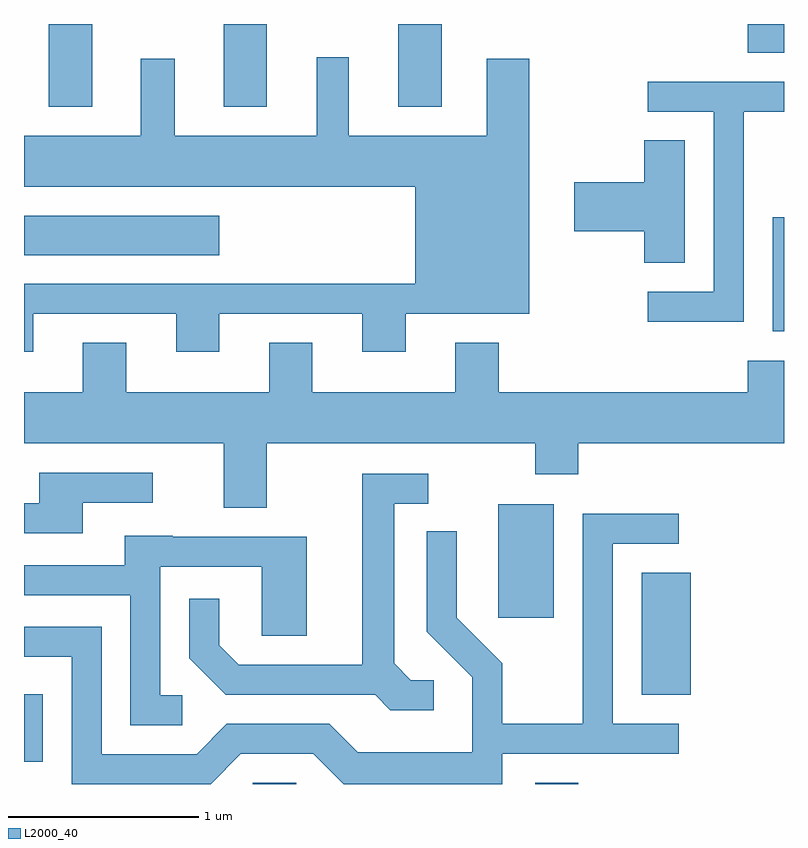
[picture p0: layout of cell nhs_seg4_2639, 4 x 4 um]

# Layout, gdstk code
import gdstk
lib = gdstk.Library(unit=1e-6, precision=1e-09)
def R(c, l, rs):  # rectangles x0, y0, x1, y1
    for r in rs: c.add(gdstk.rectangle(r[:2], r[2:], *l))
def A(c, l, x, y, w, h, nx, ny, dx, dy):  # array of equal rectangles
    R(c, l, [(x+i*dx, y+j*dy, x+i*dx+w, y+j*dy+h) for i in range(nx) for j in range(ny)])
def P(c, l, *ps):  # polygons
    for p in ps: c.add(gdstk.Polygon(p, *l))
L2000_40 = (2000, 40)

nhs_seg4_2639 = lib.new_cell('nhs_seg4_2639')
A(nhs_seg4_2639, L2000_40, 261.741, 1367.546, 0.228, 0.436, 3, 1, 0.92, 0)
R(nhs_seg4_2639, L2000_40, [(262.816,1363.982,263.044,1363.989), (264.301,1363.982,264.529,1363.989), (261.611,1364.098,261.709,1364.454), (264.861,1364.451,265.119,1365.094), (264.106,1364.856,264.399,1365.454), (265.551,1366.366,265.611,1366.964), (261.611,1366.766,262.639,1366.974), (265.421,1367.831,265.611,1367.982)])
P(nhs_seg4_2639, L2000_40, [(261.659,1366.456),(262.411,1366.456),(262.411,1366.256),(262.639,1366.256),(262.639,1366.456),(263.391,1366.456),(263.391,1366.256),(263.619,1366.256),(263.619,1366.456),(264.269,1366.456),(264.269,1367.799),(264.046,1367.799),(264.046,1367.394),(263.319,1367.394),(263.319,1367.808),(263.151,1367.808),(263.151,1367.394),(262.404,1367.394),(262.404,1367.799),(262.226,1367.799),(262.226,1367.394),(261.611,1367.394),(261.611,1367.126),(263.671,1367.126),(263.671,1366.614),(261.611,1366.614),(261.611,1366.256),(261.659,1366.256)],
  [(265.399,1367.521),(265.611,1367.521),(265.611,1367.679),(264.893,1367.679),(264.893,1367.521),(265.241,1367.521),(265.241,1366.574),(264.893,1366.574),(264.893,1366.416),(265.399,1366.416)],
  [(265.089,1367.369),(264.876,1367.369),(264.876,1367.149),(264.506,1367.149),(264.506,1366.891),(264.876,1366.891),(264.876,1366.726),(265.089,1366.726)],
  [(262.889,1365.776),(264.301,1365.776),(264.301,1365.611),(264.529,1365.611),(264.529,1365.776),(265.611,1365.776),(265.611,1366.209),(265.421,1366.209),(265.421,1366.044),(264.109,1366.044),(264.109,1366.304),(263.881,1366.304),(263.881,1366.044),(263.129,1366.044),(263.129,1366.304),(262.901,1366.304),(262.901,1366.044),(262.149,1366.044),(262.149,1366.304),(261.921,1366.304),(261.921,1366.044),(261.611,1366.044),(261.611,1365.776),(262.661,1365.776),(262.661,1365.436),(262.889,1365.436)],
  [(261.919,1365.461),(262.288,1365.461),(262.288,1365.619),(261.691,1365.619),(261.691,1365.459),(261.611,1365.459),(261.611,1365.301),(261.919,1365.301)],
  [(263.768,1364.529),(263.647,1364.529),(263.559,1364.617),(263.559,1365.456),(263.738,1365.456),(263.738,1365.614),(263.391,1365.614),(263.391,1364.609),(262.742,1364.609),(262.639,1364.712),(262.639,1364.958),(262.481,1364.958),(262.481,1364.644),(262.674,1364.451),(263.459,1364.451),(263.539,1364.371),(263.768,1364.371)],
  [(262.752,1364.141),(263.134,1364.141),(263.293,1363.982),(264.129,1363.982),(264.129,1364.141),(265.058,1364.141),(265.058,1364.299),(264.709,1364.299),(264.709,1365.246),(265.058,1365.246),(265.058,1365.404),(264.551,1365.404),(264.551,1364.299),(264.129,1364.299),(264.129,1364.617),(263.889,1364.857),(263.889,1365.313),(263.731,1365.313),(263.731,1364.784),(263.971,1364.544),(263.971,1364.149),(263.367,1364.149),(263.217,1364.299),(262.679,1364.299),(262.519,1364.139),(262.019,1364.139),(262.019,1364.809),(261.611,1364.809),(261.611,1364.651),(261.861,1364.651),(261.861,1363.982),(262.593,1363.982)],
  [(262.443,1364.449),(262.329,1364.449),(262.329,1365.126),(262.861,1365.126),(262.861,1364.761),(263.099,1364.761),(263.099,1365.284),(262.395,1365.284),(262.395,1365.289),(262.141,1365.289),(262.141,1365.134),(261.611,1365.134),(261.611,1364.976),(262.171,1364.976),(262.171,1364.291),(262.443,1364.291)])

lib.write_gds('nhs_seg4_2639.gds')
